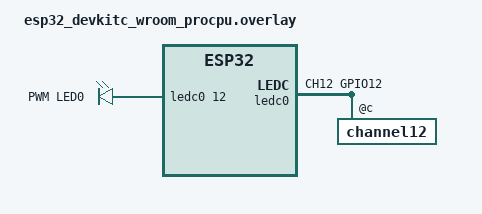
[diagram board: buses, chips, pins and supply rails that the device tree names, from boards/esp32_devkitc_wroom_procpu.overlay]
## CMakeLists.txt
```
cmake_minimum_required(VERSION 3.20.0)
find_package(Zephyr REQUIRED HINTS $ENV{ZEPHYR_BASE})
project(nrf_connect_sdk_intermediate)

target_sources(app PRIVATE src/main.c)
```

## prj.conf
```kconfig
# Logging
CONFIG_LOG=y

# STEP 1.1 - Enable PWM
CONFIG_PWM=y

# STEP 1.2 - Enable LED and LED PWM
CONFIG_LED=y
CONFIG_LED_PWM=y
```

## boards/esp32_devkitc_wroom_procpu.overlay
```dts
/*
 * SPDX-License-Identifier: Apache-2.0
 *
 * Copyright (c) 2021 Andrei-Edward Popa
 * Copyright (c) 2022 Espressif Systems (Shanghai) Co., Ltd.
 */

 #include <zephyr/dt-bindings/pwm/pwm.h>

 / {
	 aliases {
		 pwm-0 = &ledc0;
		 pwm-led0 = &pwm_led_blue;
	 };
 
	 pwmleds {
		 compatible = "pwm-leds";
		 pwm_led_blue: pwm_led_gpio0_2 {
			 label = "PWM LED0";
			 pwms = <&ledc0 12 10000 PWM_POLARITY_NORMAL>;
		 };
	 };
 };
 
 &pinctrl {
	 ledc0_default: ledc0_default {
		 group1 {
			 pinmux = <LEDC_CH12_GPIO12>;
			 output-enable;
		 };
	 };
 };
 
 &ledc0 {
	 pinctrl-0 = <&ledc0_default>;
	 pinctrl-names = "default";
	 status = "okay";
	 #address-cells = <1>;
	 #size-cells = <0>;
	 channel12@12 {
		 reg = <0xc>;
		 timer = <0>;
	 };
 };
```

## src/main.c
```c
#include <zephyr/kernel.h>
#include <zephyr/sys/printk.h>
#include <zephyr/device.h>
#include <zephyr/drivers/pwm.h>

static const struct pwm_dt_spec pwm_led0 = PWM_DT_SPEC_GET(DT_ALIAS(pwm_led0));

#define MIN_PERIOD PWM_SEC(1U) / 128U
#define MAX_PERIOD PWM_SEC(1U)

int main(void)
{
    if(!device_is_ready(pwm_led0.dev)){
        printk("Error: cihaz %s Pwm patladı",pwm_led0.dev->name);
        return 0;
    }
	int ret;
    while(1) {
        ret=pwm_set_pulse_dt(&pwm_led0,0);
        k_sleep(K_SECONDS(1));
        printk("atıyor\n");
        ret=pwm_set_pulse_dt(&pwm_led0,10000);
        k_sleep(K_SECONDS(1));
    }

	return 0;
}
```
